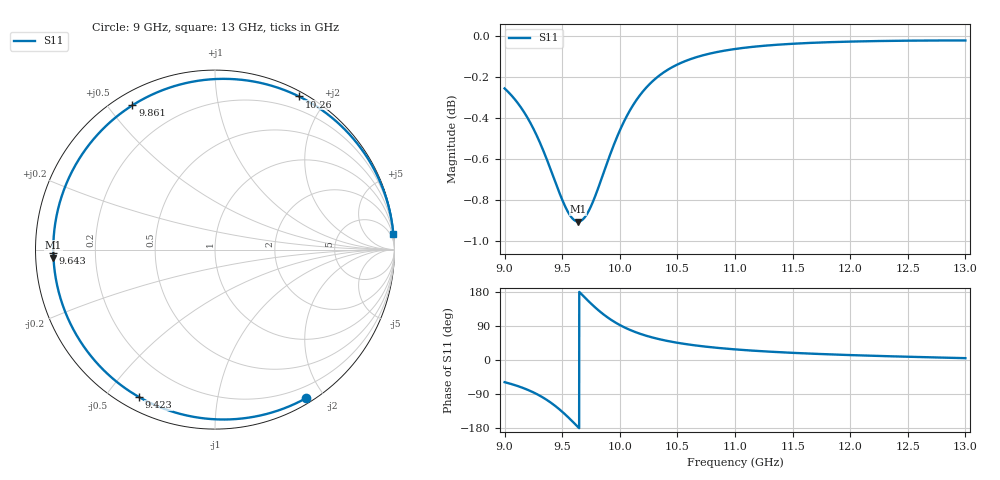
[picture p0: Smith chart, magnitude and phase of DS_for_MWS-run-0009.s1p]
! TOUCHSTONE file generated by CST DESIGN STUDIO
! Date and time: Tue Feb  4 18:19:14 2025
! Project name: C:\Work\MatlabApps\UnitCellOptimizationMatlab\CST\unitcell.cst
! Tree item: Tasks\Sweep1\SPara1\S-Parameters
! Header version: 2024
! Port assignment regex: !\s*Touchstone port\s*([0-9]+)\s*=\s*(CST MWS port|CST DES external port|CST DES block port)\s*(.+)\s* \(\"(.*)\"\)(\s*mode\s*([0-9]+))?.*
! Touchstone port assignment:
! Touchstone port 1 = CST DES external port 1 ("")
# GHz S MA R 50
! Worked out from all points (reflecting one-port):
!   4001 points, 9 GHz to 13 GHz, reference 50 ohm
!   lowest |S11| = -0.9 dB at 9.638 GHz (marker M1), VSWR 19.22, Z = 2.6 - j1.23 ohm
!   phase of S11 starts at -58 deg and turns -297 deg over the sweep
!   S11 on the Smith chart (normalised r, x): 9 GHz: 0.06, -1.78; 9.423 GHz: 0.05, -0.61; 9.643 GHz: 0.05, -0.01; 9.861 GHz: 0.05, +0.58; 10.26 GHz: 0.05, +1.69; 13 GHz: 1, +23
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9  0.9708 -58.5
9.106  0.9636 -67.9
9.213  0.9535 -80.3
9.329  0.9386 -98.3
9.378  0.9312 -107.7
9.423  0.924 -117.4
9.462  0.9178 -126.7
9.5  0.9122 -136.5
9.574  0.9038 -157.6
9.638  0.9011 -177.2
9.643  0.9011 -178.7
9.689  0.9028 167.0
9.737  0.9073 152.6
9.8  0.9162 135.0
9.861  0.9263 119.8
9.926  0.9371 105.7
10  0.9482 92.3
10.062  0.9561 83.0
10.125  0.9627 74.9
10.261  0.9733 61.2
10.373  0.9792 52.9
10.5  0.9839 45.5
10.719  0.9889 36.2
11  0.9925 28.0
11.5  0.9954 18.9
12  0.9966 13.0
12.5  0.9971 8.6
13  0.9972 4.9
